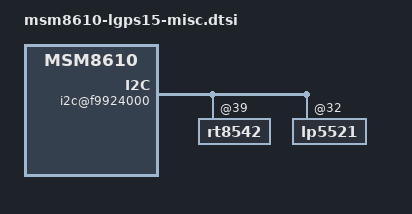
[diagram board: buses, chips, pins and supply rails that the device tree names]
/* Copyright (c) 2012, Code Aurora Forum. All rights reserved.
 *
 * This program is free software; you can redistribute it and/or modify
 * it under the terms of the GNU General Public License version 2 and
 * only version 2 as published by the Free Software Foundation.
 *
 * This program is distributed in the hope that it will be useful,
 * but WITHOUT ANY WARRANTY; without even the implied warranty of
 * MERCHANTABILITY or FITNESS FOR A PARTICULAR PURPOSE.  See the
 * GNU General Public License for more details.
 */

&soc {
	earjack-debugger {
		status = "disable";
	};

	i2c@f9924000 {
		rt8542@39 {
			status = "ok";
		};
		lm3530@38 {
			status = "disable";
		};
		lp5521@32 {
			status = "okay";
		};
	};
};
